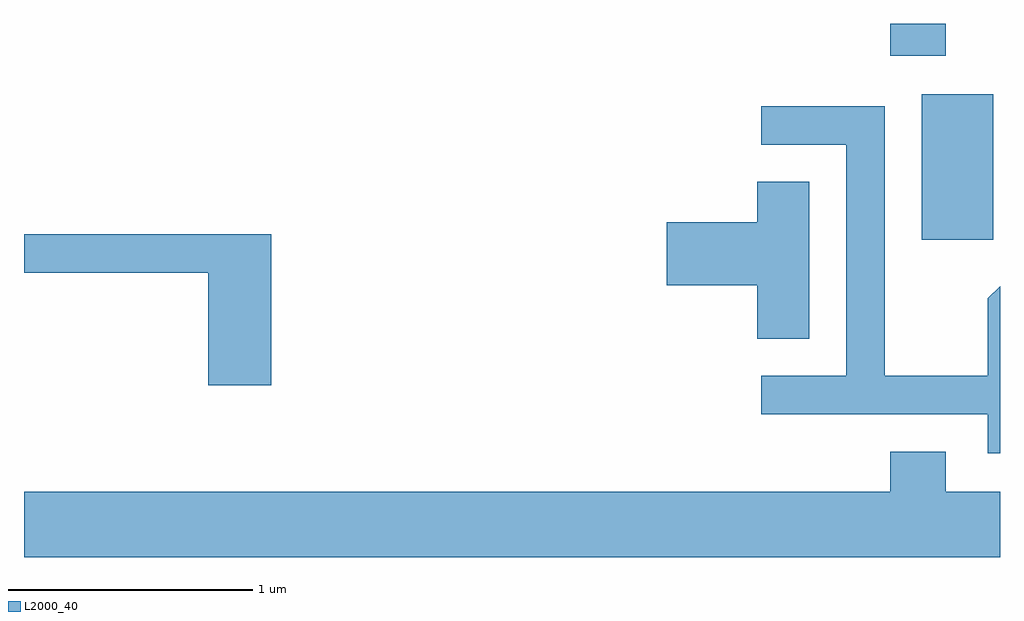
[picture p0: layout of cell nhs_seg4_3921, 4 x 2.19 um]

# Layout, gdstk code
import gdstk
lib = gdstk.Library(unit=1e-6, precision=1e-09)
def R(c, l, rs):  # rectangles x0, y0, x1, y1
    for r in rs: c.add(gdstk.rectangle(r[:2], r[2:], *l))
def P(c, l, *ps):  # polygons
    for p in ps: c.add(gdstk.Polygon(p, *l))
L2000_40 = (2000, 40)

nhs_seg4_3921 = lib.new_cell('nhs_seg4_3921')
R(nhs_seg4_3921, L2000_40, [(303.291,1347.096,303.584,1347.694), (303.161,1347.851,303.389,1347.982)])
P(nhs_seg4_3921, L2000_40, [(303.611,1346.907),(303.561,1346.857),(303.561,1346.539),(303.139,1346.539),(303.139,1347.644),(302.633,1347.644),(302.633,1347.486),(302.981,1347.486),(302.981,1346.539),(302.633,1346.539),(302.633,1346.381),(303.561,1346.381),(303.561,1346.221),(303.611,1346.221)],
  [(302.829,1347.334),(302.616,1347.334),(302.616,1347.169),(302.246,1347.169),(302.246,1346.911),(302.616,1346.911),(302.616,1346.691),(302.829,1346.691)],
  [(300.624,1347.119),(299.611,1347.119),(299.611,1346.961),(300.366,1346.961),(300.366,1346.501),(300.624,1346.501)],
  [(303.611,1346.064),(303.389,1346.064),(303.389,1346.229),(303.161,1346.229),(303.161,1346.064),(299.611,1346.064),(299.611,1345.796),(303.611,1345.796)])

lib.write_gds('nhs_seg4_3921.gds')
